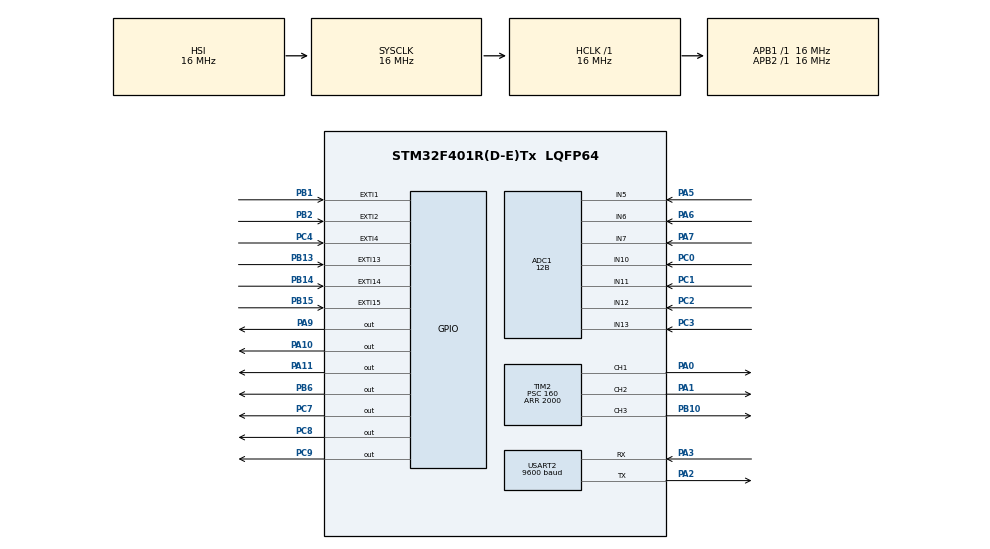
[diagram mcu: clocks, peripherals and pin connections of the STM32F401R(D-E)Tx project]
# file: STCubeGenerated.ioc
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ADC1.Channel-29\#ChannelRegularConversion=ADC_CHANNEL_5
ADC1.Channel-30\#ChannelRegularConversion=ADC_CHANNEL_6
ADC1.Channel-31\#ChannelRegularConversion=ADC_CHANNEL_7
ADC1.Channel-32\#ChannelRegularConversion=ADC_CHANNEL_10
ADC1.Channel-33\#ChannelRegularConversion=ADC_CHANNEL_11
ADC1.Channel-34\#ChannelRegularConversion=ADC_CHANNEL_12
ADC1.Channel-35\#ChannelRegularConversion=ADC_CHANNEL_13
ADC1.ClockPrescaler=ADC_CLOCK_SYNC_PCLK_DIV2
ADC1.ContinuousConvMode=DISABLE
ADC1.DMAContinuousRequests=ENABLE
ADC1.DataAlign=ADC_DATAALIGN_RIGHT
ADC1.DiscontinuousConvMode=ENABLE
ADC1.EOCSelection=ADC_EOC_SEQ_CONV
ADC1.EnableAnalogWatchDog=false
ADC1.ExternalTrigConv=ADC_SOFTWARE_START
ADC1.ExternalTrigConvEdge=ADC_EXTERNALTRIGCONVEDGE_NONE
ADC1.InjNumberOfConversion=0
ADC1.NbrOfConversion=7
ADC1.NbrOfConversionFlag=1
ADC1.NbrOfDiscConversion=1
ADC1.Rank-29\#ChannelRegularConversion=1
ADC1.Rank-30\#ChannelRegularConversion=2
ADC1.Rank-31\#ChannelRegularConversion=3
ADC1.Rank-32\#ChannelRegularConversion=4
ADC1.Rank-33\#ChannelRegularConversion=5
ADC1.Rank-34\#ChannelRegularConversion=6
ADC1.Rank-35\#ChannelRegularConversion=7
ADC1.Resolution=ADC_RESOLUTION_12B
ADC1.SamplingTime-29\#ChannelRegularConversion=ADC_SAMPLETIME_3CYCLES
ADC1.SamplingTime-30\#ChannelRegularConversion=ADC_SAMPLETIME_3CYCLES
ADC1.SamplingTime-31\#ChannelRegularConversion=ADC_SAMPLETIME_3CYCLES
ADC1.SamplingTime-32\#ChannelRegularConversion=ADC_SAMPLETIME_3CYCLES
ADC1.SamplingTime-33\#ChannelRegularConversion=ADC_SAMPLETIME_3CYCLES
ADC1.SamplingTime-34\#ChannelRegularConversion=ADC_SAMPLETIME_3CYCLES
ADC1.SamplingTime-35\#ChannelRegularConversion=ADC_SAMPLETIME_3CYCLES
ADC1.ScanConvMode=ENABLE
ADC1.master=1
Dma.ADC1.0.Direction=DMA_PERIPH_TO_MEMORY
Dma.ADC1.0.FIFOMode=DMA_FIFOMODE_DISABLE
Dma.ADC1.0.Instance=DMA2_Stream0
Dma.ADC1.0.MemDataAlignment=DMA_MDATAALIGN_HALFWORD
Dma.ADC1.0.MemInc=DMA_MINC_ENABLE
Dma.ADC1.0.Mode=DMA_CIRCULAR
Dma.ADC1.0.PeriphDataAlignment=DMA_PDATAALIGN_HALFWORD
Dma.ADC1.0.PeriphInc=DMA_PINC_DISABLE
Dma.ADC1.0.Priority=DMA_PRIORITY_LOW
Dma.Request0=ADC1
Mcu.Family=STM32F4
Mcu.Name=STM32F401R(D-E)Tx
Mcu.Package=LQFP64
NVIC.DMA2_Stream0_IRQn=true\:0\:0\:false\:false\:true\:false
NVIC.EXTI15_10_IRQn=true\:0\:0\:false\:false\:true\:true
NVIC.EXTI1_IRQn=true\:0\:0\:false\:false\:true\:true
NVIC.EXTI2_IRQn=true\:0\:0\:false\:false\:true\:true
NVIC.EXTI4_IRQn=true\:0\:0\:false\:false\:true\:true
NVIC.PriorityGroup=NVIC_PRIORITYGROUP_4
NVIC.USART2_IRQn=true\:0\:0\:false\:false\:true\:true
PA0-WKUP.Signal=S_TIM2_CH1_ETR
PA1.Signal=S_TIM2_CH2
PA10.Signal=GPIO_Output
PA11.Signal=GPIO_Output
PA2.Mode=Asynchronous
PA2.Signal=USART2_TX
PA3.Mode=Asynchronous
PA3.Signal=USART2_RX
PA5.Signal=ADCx_IN5
PA6.Signal=ADCx_IN6
PA7.Signal=ADCx_IN7
PA9.Signal=GPIO_Output
PB1.Signal=GPXTI1
PB10.Signal=S_TIM2_CH3
PB13.Signal=GPXTI13
PB14.Signal=GPXTI14
PB15.Signal=GPXTI15
PB2.Signal=GPXTI2
PB6.Signal=GPIO_Output
PC0.Signal=ADCx_IN10
PC1.Signal=ADCx_IN11
PC2.Signal=ADCx_IN12
PC3.Signal=ADCx_IN13
PC4.Signal=GPXTI4
PC7.Signal=GPIO_Output
PC8.Signal=GPIO_Output
PC9.Signal=GPIO_Output
PH0\ -\ OSC_IN.Mode=HSE-External-Oscillator
PH0\ -\ OSC_IN.Signal=RCC_OSC_IN
PH1\ -\ OSC_OUT.Mode=HSE-External-Oscillator
PH1\ -\ OSC_OUT.Signal=RCC_OSC_OUT
ProjectManager.HeapSize=0x200
ProjectManager.StackSize=0x400
ProjectManager.TargetToolchain=MDK-ARM V5
RCC.AHBFreq_Value=16000000
RCC.APB1Freq_Value=16000000
RCC.APB2Freq_Value=16000000
RCC.CortexFreq_Value=16000000
RCC.HSE_VALUE=25000000
RCC.HSI_VALUE=16000000
RCC.LSE_VALUE=32768
RCC.SYSCLKFreq_VALUE=16000000
RCC.VCOOutputFreq_Value=192000000
SH.ADCx_IN10.0=ADC1_IN10,IN10
SH.ADCx_IN11.0=ADC1_IN11,IN11
SH.ADCx_IN12.0=ADC1_IN12,IN12
SH.ADCx_IN13.0=ADC1_IN13,IN13
SH.ADCx_IN5.0=ADC1_IN5,IN5
SH.ADCx_IN6.0=ADC1_IN6,IN6
SH.ADCx_IN7.0=ADC1_IN7,IN7
SH.S_TIM2_CH1_ETR.0=TIM2_CH1,PWM Generation1 CH1
SH.S_TIM2_CH2.0=TIM2_CH2,PWM Generation2 CH2
SH.S_TIM2_CH3.0=TIM2_CH3,PWM Generation3 CH3
TIM2.Channel-PWM\ Generation1\ CH1=TIM_CHANNEL_1
TIM2.Channel-PWM\ Generation2\ CH2=TIM_CHANNEL_2
TIM2.Channel-PWM\ Generation3\ CH3=TIM_CHANNEL_3
TIM2.Period=2000
TIM2.Prescaler=160
USART2.BaudRate=9600
USART2.VirtualMode=VM_ASYNC
VP_TIM2_VS_ClockSourceINT.Mode=Internal
board=STCubeGenerated

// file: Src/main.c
/**
  ******************************************************************************
  * @file           : main.c
  * @brief          : Main program body
  ******************************************************************************
  ** This notice applies to any and all portions of this file
  * that are not between comment pairs USER CODE BEGIN and
  * USER CODE END. Other portions of this file, whether
  * inserted by the user or by software development tools
  * are owned by their respective copyright owners.
  *
  * COPYRIGHT(c) 2018 STMicroelectronics
  *
  * Redistribution and use in source and binary forms, with or without modification,
  * are permitted provided that the following conditions are met:
  *   1. Redistributions of source code must retain the above copyright notice,
  *      this list of conditions and the following disclaimer.
  *   2. Redistributions in binary form must reproduce the above copyright notice,
  *      this list of conditions and the following disclaimer in the documentation
  *      and/or other materials provided with the distribution.
  *   3. Neither the name of STMicroelectronics nor the names of its contributors
  *      may be used to endorse or promote products derived from this software
  *      without specific prior written permission.
  *
  * THIS SOFTWARE IS PROVIDED BY THE COPYRIGHT HOLDERS AND CONTRIBUTORS "AS IS"
  * AND ANY EXPRESS OR IMPLIED WARRANTIES, INCLUDING, BUT NOT LIMITED TO, THE
  * IMPLIED WARRANTIES OF MERCHANTABILITY AND FITNESS FOR A PARTICULAR PURPOSE ARE
  * DISCLAIMED. IN NO EVENT SHALL THE COPYRIGHT HOLDER OR CONTRIBUTORS BE LIABLE
  * FOR ANY DIRECT, INDIRECT, INCIDENTAL, SPECIAL, EXEMPLARY, OR CONSEQUENTIAL
  * DAMAGES (INCLUDING, BUT NOT LIMITED TO, PROCUREMENT OF SUBSTITUTE GOODS OR
  * SERVICES; LOSS OF USE, DATA, OR PROFITS; OR BUSINESS INTERRUPTION) HOWEVER
  * CAUSED AND ON ANY THEORY OF LIABILITY, WHETHER IN CONTRACT, STRICT LIABILITY,
  * OR TORT (INCLUDING NEGLIGENCE OR OTHERWISE) ARISING IN ANY WAY OUT OF THE USE
  * OF THIS SOFTWARE, EVEN IF ADVISED OF THE POSSIBILITY OF SUCH DAMAGE.
  *
  ******************************************************************************
  */
#include "main.h"
#include "stm32f4xx_hal.h"

/* USER CODE BEGIN Includes */
#include "cmsis_os.h"

/**
  ******************************************************************************
  * File Name          : main.c
  * Description        : Main Program Body
	* User Code by			 : Sulaymaan Shaikh, Edward Lobley, Luke Jackson, Callum Small,
	*											 Ian Taylor, Myles Flanagan
	* Version						 : 0.3
	*
	* Changelog:
	*						0.3:
	*							- Corrected Limit Switch pins, generated and added ADC DMA code
	*						0.2:
	*							- Added Drive Motor Thread and PWM init
	*						0.1:
	*							- Generated Init Code
	*							- Added Communications, Stepper Motor Threads
	*
  ******************************************************************************
	*/

/* USER CODE END Includes */

ADC_HandleTypeDef hadc1;
DMA_HandleTypeDef hdma_adc1;

TIM_HandleTypeDef htim2;

UART_HandleTypeDef huart2;

/* USER CODE BEGIN PV */
/* Private variables ---------------------------------------------------------*/
uint8_t rxBuf[1];
/* USER CODE END PV */

void SystemClock_Config(void);
static void MX_GPIO_Init(void);
static void MX_DMA_Init(void);
static void MX_USART2_UART_Init(void);
static void MX_TIM2_Init(void);
static void MX_ADC1_Init(void);

void HAL_TIM_MspPostInit(TIM_HandleTypeDef *htim);

/* USER CODE BEGIN PFP */
/* Private function prototypes -----------------------------------------------*/
extern int initCommsDecode(void);
extern int initDriveControl(void);
extern int initSteppers(void);
extern int initAdcRead(void);
extern int initStrainGauge(void);
/* USER CODE END PFP */

/* USER CODE BEGIN 0 */
extern uint32_t os_time;
uint32_t HAL_GetTick(void) {           // Add HAL_GetTick function for STM32Cube HAL
  return os_time;
}

/* USER CODE END 0 */

int main(void)
{
  /* USER CODE BEGIN 1 */
	osKernelInitialize();
  /* USER CODE END 1 */

  /* MCU Configuration----------------------------------------------------------*/

  /* Reset of all peripherals, Initializes the Flash interface and the Systick. */
  HAL_Init();

  /* Configure the system clock */
  SystemClock_Config();

  /* Initialize all configured peripherals */
  MX_GPIO_Init();
  MX_DMA_Init();
  MX_USART2_UART_Init();
  MX_TIM2_Init();
  MX_ADC1_Init();
  /* USER CODE BEGIN 2 */
	//Start Motor PWM
	HAL_TIM_PWM_Start(&htim2, TIM_CHANNEL_1);
	HAL_TIM_PWM_Start(&htim2, TIM_CHANNEL_2);
	HAL_TIM_PWM_Start(&htim2, TIM_CHANNEL_3);

	//InitThreads
	initCommsDecode();
	initDriveControl();
	initSteppers();
	initAdcRead();
	initStrainGauge();
	HAL_UART_Receive_IT(&huart2, rxBuf, 1);

	//Begin Code Execution
	osKernelStart();
  /* USER CODE END 2 */

  /* Infinite loop */
  while (1)
  {

  }

}

void SystemClock_Config(void)
{

  RCC_OscInitTypeDef RCC_OscInitStruct;
  RCC_ClkInitTypeDef RCC_ClkInitStruct;

    /**Configure the main internal regulator output voltage
    */
  __HAL_RCC_PWR_CLK_ENABLE();

  __HAL_PWR_VOLTAGESCALING_CONFIG(PWR_REGULATOR_VOLTAGE_SCALE2);

    /**Initializes the CPU, AHB and APB busses clocks
    */
  RCC_OscInitStruct.OscillatorType = RCC_OSCILLATORTYPE_HSI;
  RCC_OscInitStruct.HSIState = RCC_HSI_ON;
  RCC_OscInitStruct.HSICalibrationValue = 16;
  RCC_OscInitStruct.PLL.PLLState = RCC_PLL_NONE;
  if (HAL_RCC_OscConfig(&RCC_OscInitStruct) != HAL_OK)
  {
    _Error_Handler(__FILE__, __LINE__);
  }

    /**Initializes the CPU, AHB and APB busses clocks
    */
  RCC_ClkInitStruct.ClockType = RCC_CLOCKTYPE_HCLK|RCC_CLOCKTYPE_SYSCLK
                              |RCC_CLOCKTYPE_PCLK1|RCC_CLOCKTYPE_PCLK2;
  RCC_ClkInitStruct.SYSCLKSource = RCC_SYSCLKSOURCE_HSI;
  RCC_ClkInitStruct.AHBCLKDivider = RCC_SYSCLK_DIV1;
  RCC_ClkInitStruct.APB1CLKDivider = RCC_HCLK_DIV1;
  RCC_ClkInitStruct.APB2CLKDivider = RCC_HCLK_DIV1;

  if (HAL_RCC_ClockConfig(&RCC_ClkInitStruct, FLASH_LATENCY_0) != HAL_OK)
  {
    _Error_Handler(__FILE__, __LINE__);
  }

    /**Configure the Systick interrupt time
    */
  HAL_SYSTICK_Config(HAL_RCC_GetHCLKFreq()/1000);

    /**Configure the Systick
    */
  HAL_SYSTICK_CLKSourceConfig(SYSTICK_CLKSOURCE_HCLK);

  /* SysTick_IRQn interrupt configuration */
  HAL_NVIC_SetPriority(SysTick_IRQn, 15, 0);
}

/* ADC1 init function */
static void MX_ADC1_Init(void)
{

  ADC_ChannelConfTypeDef sConfig;

    /**Configure the global features of the ADC (Clock, Resolution, Data Alignment and number of conversion)
    */
  hadc1.Instance = ADC1;
  hadc1.Init.ClockPrescaler = ADC_CLOCK_SYNC_PCLK_DIV2;
  hadc1.Init.Resolution = ADC_RESOLUTION_12B;
  hadc1.Init.ScanConvMode = ENABLE;
  hadc1.Init.ContinuousConvMode = DISABLE;
  hadc1.Init.DiscontinuousConvMode = ENABLE;
  hadc1.Init.NbrOfDiscConversion = 1;
  hadc1.Init.ExternalTrigConvEdge = ADC_EXTERNALTRIGCONVEDGE_NONE;
  hadc1.Init.ExternalTrigConv = ADC_SOFTWARE_START;
  hadc1.Init.DataAlign = ADC_DATAALIGN_RIGHT;
  hadc1.Init.NbrOfConversion = 7;
  hadc1.Init.DMAContinuousRequests = ENABLE;
  hadc1.Init.EOCSelection = ADC_EOC_SEQ_CONV;
  if (HAL_ADC_Init(&hadc1) != HAL_OK)
  {
    _Error_Handler(__FILE__, __LINE__);
  }

    /**Configure for the selected ADC regular channel its corresponding rank in the sequencer and its sample time.
    */
  sConfig.Channel = ADC_CHANNEL_5;
  sConfig.Rank = 1;
  sConfig.SamplingTime = ADC_SAMPLETIME_3CYCLES;
  if (HAL_ADC_ConfigChannel(&hadc1, &sConfig) != HAL_OK)
  {
    _Error_Handler(__FILE__, __LINE__);
  }

    /**Configure for the selected ADC regular channel its corresponding rank in the sequencer and its sample time.
    */
  sConfig.Channel = ADC_CHANNEL_6;
  sConfig.Rank = 2;
  if (HAL_ADC_ConfigChannel(&hadc1, &sConfig) != HAL_OK)
  {
    _Error_Handler(__FILE__, __LINE__);
  }

    /**Configure for the selected ADC regular channel its corresponding rank in the sequencer and its sample time.
    */
  sConfig.Channel = ADC_CHANNEL_7;
  sConfig.Rank = 3;
  if (HAL_ADC_ConfigChannel(&hadc1, &sConfig) != HAL_OK)
  {
    _Error_Handler(__FILE__, __LINE__);
  }

    /**Configure for the selected ADC regular channel its corresponding rank in the sequencer and its sample time.
    */
  sConfig.Channel = ADC_CHANNEL_10;
  sConfig.Rank = 4;
  if (HAL_ADC_ConfigChannel(&hadc1, &sConfig) != HAL_OK)
  {
    _Error_Handler(__FILE__, __LINE__);
  }

    /**Configure for the selected ADC regular channel its corresponding rank in the sequencer and its sample time.
    */
  sConfig.Channel = ADC_CHANNEL_11;
  sConfig.Rank = 5;
  if (HAL_ADC_ConfigChannel(&hadc1, &sConfig) != HAL_OK)
  {
    _Error_Handler(__FILE__, __LINE__);
  }

    /**Configure for the selected ADC regular channel its corresponding rank in the sequencer and its sample time.
    */
  sConfig.Channel = ADC_CHANNEL_12;
  sConfig.Rank = 6;
  if (HAL_ADC_ConfigChannel(&hadc1, &sConfig) != HAL_OK)
  {
    _Error_Handler(__FILE__, __LINE__);
  }

    /**Configure for the selected ADC regular channel its corresponding rank in the sequencer and its sample time.
    */
  sConfig.Channel = ADC_CHANNEL_13;
  sConfig.Rank = 7;
  if (HAL_ADC_ConfigChannel(&hadc1, &sConfig) != HAL_OK)
  {
    _Error_Handler(__FILE__, __LINE__);
  }

}

/* TIM2 init function */
static void MX_TIM2_Init(void)
{

  TIM_ClockConfigTypeDef sClockSourceConfig;
  TIM_MasterConfigTypeDef sMasterConfig;
  TIM_OC_InitTypeDef sConfigOC;

  htim2.Instance = TIM2;
  htim2.Init.Prescaler = 160;
  htim2.Init.CounterMode = TIM_COUNTERMODE_UP;
  htim2.Init.Period = 2000;
  htim2.Init.ClockDivision = TIM_CLOCKDIVISION_DIV1;
  if (HAL_TIM_Base_Init(&htim2) != HAL_OK)
  {
    _Error_Handler(__FILE__, __LINE__);
  }

  sClockSourceConfig.ClockSource = TIM_CLOCKSOURCE_INTERNAL;
  if (HAL_TIM_ConfigClockSource(&htim2, &sClockSourceConfig) != HAL_OK)
  {
    _Error_Handler(__FILE__, __LINE__);
  }

  if (HAL_TIM_PWM_Init(&htim2) != HAL_OK)
  {
    _Error_Handler(__FILE__, __LINE__);
  }

  sMasterConfig.MasterOutputTrigger = TIM_TRGO_RESET;
  sMasterConfig.MasterSlaveMode = TIM_MASTERSLAVEMODE_DISABLE;
  if (HAL_TIMEx_MasterConfigSynchronization(&htim2, &sMasterConfig) != HAL_OK)
  {
    _Error_Handler(__FILE__, __LINE__);
  }

  sConfigOC.OCMode = TIM_OCMODE_PWM1;
  sConfigOC.Pulse = 0;
  sConfigOC.OCPolarity = TIM_OCPOLARITY_HIGH;
  sConfigOC.OCFastMode = TIM_OCFAST_DISABLE;
  if (HAL_TIM_PWM_ConfigChannel(&htim2, &sConfigOC, TIM_CHANNEL_1) != HAL_OK)
  {
    _Error_Handler(__FILE__, __LINE__);
  }

  if (HAL_TIM_PWM_ConfigChannel(&htim2, &sConfigOC, TIM_CHANNEL_2) != HAL_OK)
  {
    _Error_Handler(__FILE__, __LINE__);
  }

  if (HAL_TIM_PWM_ConfigChannel(&htim2, &sConfigOC, TIM_CHANNEL_3) != HAL_OK)
  {
    _Error_Handler(__FILE__, __LINE__);
  }

  HAL_TIM_MspPostInit(&htim2);

}

/* USART2 init function */
static void MX_USART2_UART_Init(void)
{

  huart2.Instance = USART2;
  huart2.Init.BaudRate = 9600;
  huart2.Init.WordLength = UART_WORDLENGTH_8B;
  huart2.Init.StopBits = UART_STOPBITS_1;
  huart2.Init.Parity = UART_PARITY_NONE;
  huart2.Init.Mode = UART_MODE_TX_RX;
  huart2.Init.HwFlowCtl = UART_HWCONTROL_NONE;
  huart2.Init.OverSampling = UART_OVERSAMPLING_16;
  if (HAL_UART_Init(&huart2) != HAL_OK)
  {
    _Error_Handler(__FILE__, __LINE__);
  }

}

static void MX_DMA_Init(void)
{
  /* DMA controller clock enable */
  __HAL_RCC_DMA2_CLK_ENABLE();

  /* DMA interrupt init */
  /* DMA2_Stream0_IRQn interrupt configuration */
  HAL_NVIC_SetPriority(DMA2_Stream0_IRQn, 0, 0);
  HAL_NVIC_EnableIRQ(DMA2_Stream0_IRQn);

}

/** Configure pins as
        * Analog
        * Input
        * Output
        * EVENT_OUT
        * EXTI
*/
static void MX_GPIO_Init(void)
{

  GPIO_InitTypeDef GPIO_InitStruct;

  /* GPIO Ports Clock Enable */
  __HAL_RCC_GPIOH_CLK_ENABLE();
  __HAL_RCC_GPIOC_CLK_ENABLE();
  __HAL_RCC_GPIOA_CLK_ENABLE();
  __HAL_RCC_GPIOB_CLK_ENABLE();

  /*Configure GPIO pin Output Level */
  HAL_GPIO_WritePin(GPIOC, GPIO_PIN_7|GPIO_PIN_8|GPIO_PIN_9, GPIO_PIN_RESET);

  /*Configure GPIO pin Output Level */
  HAL_GPIO_WritePin(GPIOA, GPIO_PIN_9|GPIO_PIN_10|GPIO_PIN_11, GPIO_PIN_RESET);

  /*Configure GPIO pin Output Level */
  HAL_GPIO_WritePin(GPIOB, GPIO_PIN_6, GPIO_PIN_RESET);

  /*Configure GPIO pin : PC4 */
  GPIO_InitStruct.Pin = GPIO_PIN_4;
  GPIO_InitStruct.Mode = GPIO_MODE_IT_RISING;
  GPIO_InitStruct.Pull = GPIO_NOPULL;
  HAL_GPIO_Init(GPIOC, &GPIO_InitStruct);

  /*Configure GPIO pins : PB1 PB2 PB13 PB14
                           PB15 */
  GPIO_InitStruct.Pin = GPIO_PIN_1|GPIO_PIN_2|GPIO_PIN_13|GPIO_PIN_14
                          |GPIO_PIN_15;
  GPIO_InitStruct.Mode = GPIO_MODE_IT_RISING;
  GPIO_InitStruct.Pull = GPIO_NOPULL;
  HAL_GPIO_Init(GPIOB, &GPIO_InitStruct);

  /*Configure GPIO pins : PC7 PC8 PC9 */
  GPIO_InitStruct.Pin = GPIO_PIN_7|GPIO_PIN_8|GPIO_PIN_9;
  GPIO_InitStruct.Mode = GPIO_MODE_OUTPUT_PP;
  GPIO_InitStruct.Pull = GPIO_NOPULL;
  GPIO_InitStruct.Speed = GPIO_SPEED_FREQ_LOW;
  HAL_GPIO_Init(GPIOC, &GPIO_InitStruct);

  /*Configure GPIO pins : PA9 PA10 PA11 */
  GPIO_InitStruct.Pin = GPIO_PIN_9|GPIO_PIN_10|GPIO_PIN_11;
  GPIO_InitStruct.Mode = GPIO_MODE_OUTPUT_PP;
  GPIO_InitStruct.Pull = GPIO_NOPULL;
  GPIO_InitStruct.Speed = GPIO_SPEED_FREQ_LOW;
  HAL_GPIO_Init(GPIOA, &GPIO_InitStruct);

  /*Configure GPIO pin : PB6 */
  GPIO_InitStruct.Pin = GPIO_PIN_6;
  GPIO_InitStruct.Mode = GPIO_MODE_OUTPUT_PP;
  GPIO_InitStruct.Pull = GPIO_NOPULL;
  GPIO_InitStruct.Speed = GPIO_SPEED_FREQ_LOW;
  HAL_GPIO_Init(GPIOB, &GPIO_InitStruct);

  /* EXTI interrupt init*/
  HAL_NVIC_SetPriority(EXTI1_IRQn, 0, 0);
  HAL_NVIC_EnableIRQ(EXTI1_IRQn);

  HAL_NVIC_SetPriority(EXTI2_IRQn, 0, 0);
  HAL_NVIC_EnableIRQ(EXTI2_IRQn);

  HAL_NVIC_SetPriority(EXTI4_IRQn, 0, 0);
  HAL_NVIC_EnableIRQ(EXTI4_IRQn);

  HAL_NVIC_SetPriority(EXTI15_10_IRQn, 0, 0);
  HAL_NVIC_EnableIRQ(EXTI15_10_IRQn);

}

void _Error_Handler(char *file, int line)
{
  while(1)
  {
  }
}

/************************ (C) COPYRIGHT STMicroelectronics *****END OF FILE****/
